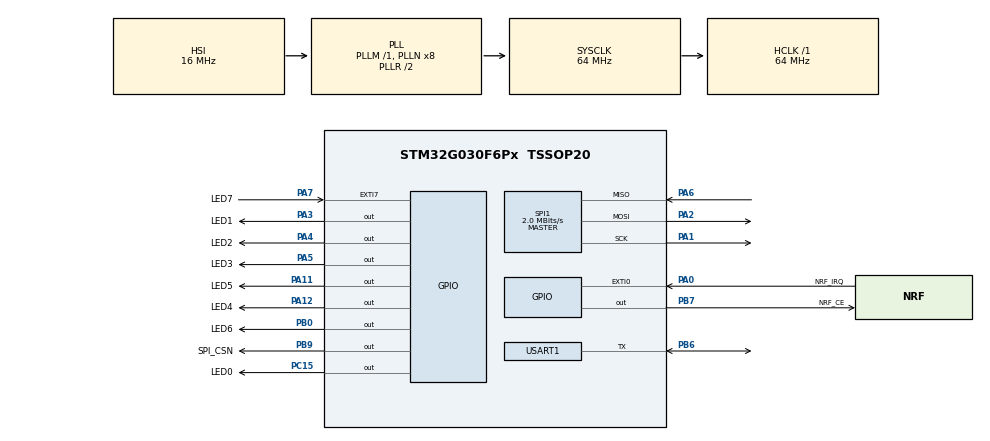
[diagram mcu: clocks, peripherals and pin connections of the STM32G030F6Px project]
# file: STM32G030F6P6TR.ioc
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ADC1.Channel-1\#ChannelRegularConversion=ADC_CHANNEL_VREFINT
ADC1.NbrOfConversion=1
ADC1.NbrOfConversionFlag=1
ADC1.Rank-1\#ChannelRegularConversion=1
ADC1.SamplingTime-1\#ChannelRegularConversion=ADC_SAMPLINGTIME_COMMON_1
ADC1.SelectedChannel=ADC_CHANNEL_VREFINT
ADC1.master=1
FREERTOS.Tasks01=defaultTask,0,128,StartDefaultTask,Default,NULL,Dynamic,NULL,NULL
Mcu.Family=STM32G0
Mcu.Name=STM32G030F6Px
Mcu.Package=TSSOP20
NVIC.EXTI0_1_IRQn=true\:3\:0\:false\:false\:true\:true\:true\:true\:true
NVIC.EXTI4_15_IRQn=true\:3\:0\:false\:false\:true\:true\:true\:true\:true
NVIC.TIM14_IRQn=true\:3\:0\:false\:false\:true\:false\:false\:true\:true
NVIC.TIM3_IRQn=true\:3\:0\:false\:false\:true\:true\:true\:true\:true
NVIC.TimeBase=TIM14_IRQn
NVIC.TimeBaseIP=TIM14
PA0.GPIO_Label=NRF_IRQ
PA0.Signal=GPXTI0
PA1.Mode=Full_Duplex_Master
PA1.Signal=SPI1_SCK
PA11\ [PA9].GPIO_Label=LED5
PA11\ [PA9].Signal=GPIO_Output
PA12\ [PA10].GPIO_Label=LED4
PA12\ [PA10].Signal=GPIO_Output
PA13.Mode=Serial_Wire
PA13.Signal=SYS_SWDIO
PA14-BOOT0.Mode=Serial_Wire
PA14-BOOT0.Signal=SYS_SWCLK
PA14-BOOT0__PA15.StandardMode=true
PA2.Mode=Full_Duplex_Master
PA2.Signal=SPI1_MOSI
PA3.GPIO_Label=LED1
PA3.Signal=GPIO_Output
PA4.GPIO_Label=LED2
PA4.Signal=GPIO_Output
PA5.GPIO_Label=LED3
PA5.Signal=GPIO_Output
PA6.Mode=Full_Duplex_Master
PA6.Signal=SPI1_MISO
PA7.GPIO_Label=LED7
PA7.Signal=GPXTI7
PB0.GPIO_Label=LED6
PB0.Signal=GPIO_Output
PB0__PB1__PB2__PA8.StandardMode=true
PB3__PB4__PB5__PB6.StandardMode=true
PB6.Mode=Half_duplex(single_wire_mode)
PB6.Signal=USART1_TX
PB7.GPIO_Label=NRF_CE
PB7.Signal=GPIO_Output
PB7__PB8.StandardMode=true
PB9.GPIO_Label=SPI_CSN
PB9.Signal=GPIO_Output
PC14-OSC32_IN\ (PC14)__PB9.StandardMode=true
PC15-OSC32_OUT\ (PC15).GPIO_Label=LED0
PC15-OSC32_OUT\ (PC15).Signal=GPIO_Output
ProjectManager.HeapSize=0x200
ProjectManager.StackSize=0x400
ProjectManager.TargetToolchain=MDK-ARM V5.32
RCC.ADCFreq_Value=64000000
RCC.AHBFreq_Value=64000000
RCC.CortexFreq_Value=64000000
RCC.EXTERNAL_CLOCK_VALUE=12288000
RCC.HCLKFreq_Value=64000000
RCC.HSE_VALUE=8000000
RCC.HSI_VALUE=16000000
RCC.LSE_VALUE=32768
RCC.SYSCLKFreq_VALUE=64000000
RCC.SYSCLKSource=RCC_SYSCLKSOURCE_PLLCLK
RCC.VCOOutputFreq_Value=128000000
SPI1.BaudRatePrescaler=SPI_BAUDRATEPRESCALER_32
SPI1.CalculateBaudRate=2.0 MBits/s
SPI1.Direction=SPI_DIRECTION_2LINES
SPI1.Mode=SPI_MODE_MASTER
SPI1.VirtualType=VM_MASTER
TIM3.Period=500
TIM3.Prescaler=64000
USART1.VirtualMode-Half_duplex(single_wire_mode)=VM_ASYNC
VP_ADC1_Vref_Input.Mode=IN-Vrefint
VP_FREERTOS_VS_CMSIS_V1.Mode=CMSIS_V1
VP_SYS_VS_tim14.Mode=TIM14
VP_TIM1_VS_ClockSourceINT.Mode=Internal
VP_TIM3_VS_ClockSourceINT.Mode=Internal
board=custom

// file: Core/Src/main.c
/* USER CODE BEGIN Header */
/**
  ******************************************************************************
  * @file           : main.c
  * @brief          : Main program body
  ******************************************************************************
  * @attention
  *
  * Copyright (c) 2023 STMicroelectronics.
  * All rights reserved.
  *
  * This software is licensed under terms that can be found in the LICENSE file
  * in the root directory of this software component.
  * If no LICENSE file comes with this software, it is provided AS-IS.
  *
  ******************************************************************************
  */
/* USER CODE END Header */
#include "main.h"
#include "cmsis_os.h"
#include "adc.h"
#include "spi.h"
#include "tim.h"
#include "usart.h"
#include "gpio.h"

/* USER CODE BEGIN Includes */
#include "../common.h"
/* USER CODE END Includes */

void SystemClock_Config(void);
void MX_FREERTOS_Init(void);

int main(void)
{

  /* MCU Configuration--------------------------------------------------------*/

  /* Reset of all peripherals, Initializes the Flash interface and the Systick. */
  HAL_Init();

  /* Configure the system clock */
  SystemClock_Config();

  /* Initialize all configured peripherals */
  MX_GPIO_Init();
  MX_ADC1_Init();
  MX_SPI1_Init();
  MX_TIM1_Init();
  MX_USART1_UART_Init();
  MX_TIM3_Init();

  /* Call init function for freertos objects (in freertos.c) */
  MX_FREERTOS_Init();

  /* Start scheduler */
  osKernelStart();

  /* We should never get here as control is now taken by the scheduler */
  /* Infinite loop */
  while (1)
  {

  }
}

void SystemClock_Config(void)
{
  RCC_OscInitTypeDef RCC_OscInitStruct = {0};
  RCC_ClkInitTypeDef RCC_ClkInitStruct = {0};

  /** Configure the main internal regulator output voltage
  */
  HAL_PWREx_ControlVoltageScaling(PWR_REGULATOR_VOLTAGE_SCALE1);

  /** Initializes the RCC Oscillators according to the specified parameters
  * in the RCC_OscInitTypeDef structure.
  */
  RCC_OscInitStruct.OscillatorType = RCC_OSCILLATORTYPE_HSI;
  RCC_OscInitStruct.HSIState = RCC_HSI_ON;
  RCC_OscInitStruct.HSIDiv = RCC_HSI_DIV1;
  RCC_OscInitStruct.HSICalibrationValue = RCC_HSICALIBRATION_DEFAULT;
  RCC_OscInitStruct.PLL.PLLState = RCC_PLL_ON;
  RCC_OscInitStruct.PLL.PLLSource = RCC_PLLSOURCE_HSI;
  RCC_OscInitStruct.PLL.PLLM = RCC_PLLM_DIV1;
  RCC_OscInitStruct.PLL.PLLN = 8;
  RCC_OscInitStruct.PLL.PLLP = RCC_PLLP_DIV2;
  RCC_OscInitStruct.PLL.PLLR = RCC_PLLR_DIV2;
  if (HAL_RCC_OscConfig(&RCC_OscInitStruct) != HAL_OK)
  {
    Error_Handler();
  }

  /** Initializes the CPU, AHB and APB buses clocks
  */
  RCC_ClkInitStruct.ClockType = RCC_CLOCKTYPE_HCLK|RCC_CLOCKTYPE_SYSCLK
                              |RCC_CLOCKTYPE_PCLK1;
  RCC_ClkInitStruct.SYSCLKSource = RCC_SYSCLKSOURCE_PLLCLK;
  RCC_ClkInitStruct.AHBCLKDivider = RCC_SYSCLK_DIV1;
  RCC_ClkInitStruct.APB1CLKDivider = RCC_HCLK_DIV1;

  if (HAL_RCC_ClockConfig(&RCC_ClkInitStruct, FLASH_LATENCY_2) != HAL_OK)
  {
    Error_Handler();
  }
}

void HAL_TIM_PeriodElapsedCallback(TIM_HandleTypeDef *htim)
{
	static uint8_t keyTime = 0;
  /* USER CODE BEGIN Callback 0 */
	BaseType_t phpt;
  /* USER CODE END Callback 0 */
  if (htim->Instance == TIM14) {
    HAL_IncTick();
  }
  /* USER CODE BEGIN Callback 1 */
	if (htim->Instance == TIM1) {
  }
	if (htim->Instance == TIM3) {
		//按键定时
		if ( str.preKey == 1 ) {
			LED0_ON();
			keyTime++;
			if ( keyTime > 4 ) {//2s
				keyTime = 0;
				str.preKey = 0;
				if ( str.regSta != 1 ) LED0_OFF();
				HAL_NVIC_EnableIRQ(CFG_KEY_EXTI_IRQn);
			}
		} else if ( str.regSta == 1 ) {
			LED0_TOGGLE();

		} else if ( str.regSta == 2 ) {//通信定时,10s发一次心跳
			nrf_str.heartTime++;
			if ( nrf_str.heartTime > 20 ) {
				nrf_str.heartTime = 0;
				str.regSta = 3;
				xTaskNotifyFromISR( nrf_control_taskHandle, 1U<<NRF_REGISTER_DEVICE, eSetBits, &phpt );//发送心跳
			}
		}
	}
  /* USER CODE END Callback 1 */
}

void Error_Handler(void)
{
  __disable_irq();
  while (1)
  {
  }
}

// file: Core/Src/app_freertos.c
/* USER CODE BEGIN Header */
/**
  ******************************************************************************
  * File Name          : app_freertos.c
  * Description        : Code for freertos applications
  ******************************************************************************
  * @attention
  *
  * Copyright (c) 2023 STMicroelectronics.
  * All rights reserved.
  *
  * This software is licensed under terms that can be found in the LICENSE file
  * in the root directory of this software component.
  * If no LICENSE file comes with this software, it is provided AS-IS.
  *
  ******************************************************************************
  */
/* USER CODE END Header */

#include "FreeRTOS.h"
#include "task.h"
#include "main.h"
#include "cmsis_os.h"

/* USER CODE BEGIN Includes */
#include "../common.h"
/* USER CODE END Includes */

/* USER CODE BEGIN PTD */
STR str;
/* USER CODE END PTD */

/* USER CODE BEGIN Variables */
TaskHandle_t nrf_control_taskHandle;
TaskHandle_t executive_taskHandle;
/* USER CODE END Variables */
osThreadId defaultTaskHandle;

/* USER CODE BEGIN FunctionPrototypes */
#ifdef DEBUG_ENABLE
void debugTaskFun(void const * argument);
#endif
void executive_task_fun(void const * argument);
void nrf_control_task_fun(void const * argument);
/* USER CODE END FunctionPrototypes */

void StartDefaultTask(void const * argument);

void MX_FREERTOS_Init(void); /* (MISRA C 2004 rule 8.1) */

void MX_FREERTOS_Init(void) {

  /* Create the thread(s) */
  /* definition and creation of defaultTask */
  osThreadDef(defaultTask, StartDefaultTask, osPriorityNormal, 0, 128);
  defaultTaskHandle = osThreadCreate(osThread(defaultTask), NULL);

  /* USER CODE BEGIN RTOS_THREADS */
  /* add threads, ... */
#ifdef DEBUG_ENABLE
	osThreadDef(debugTask, debugTaskFun, osPriorityNormal, 0, debugTaskSize);
  debugTaskHandle = osThreadCreate(osThread(debugTask), NULL);
#endif

	osThreadDef(nrf_control_task, nrf_control_task_fun, osPriorityNormal, 0, nrf_control_taskSize);
  nrf_control_taskHandle = osThreadCreate(osThread(nrf_control_task), NULL);

	osThreadDef(executive_task, executive_task_fun, osPriorityNormal, 0, executive_taskSize);
  executive_taskHandle = osThreadCreate(osThread(executive_task), NULL);
  /* USER CODE END RTOS_THREADS */

}

void StartDefaultTask(void const * argument)
{
  /* USER CODE BEGIN StartDefaultTask */
  /* Infinite loop */
  for(;;)
  {
//		//getSnByDeviceId_setClientId();
//		//read_data_from_flash();
//		//#ifdef DEBUG_ENABLE
//		//	debug_init();
//		//#endif
//		//HAL_TIM_Base_Start_IT( &htim3 );
//		//HAL_TIM_Base_Start( &htim3 );
//
//		xTaskNotify( nrf_control_taskHandle, 1U<<NRF_INIT_EVENT, eSetBits );
//		xTaskNotify( executive_taskHandle, 1U<<LED_MODE_OFF, eSetBits );
//		LED0_ON();
//		printf("init ok\r\n");
//		vTaskDelay(100);
//		xTaskNotify( nrf_control_taskHandle, 1U<<NRF_REGISTER_DEVICE, eSetBits );

		LED_ALL_OFF();
		nrf_init();
		vTaskDelay(100);
		printf("init ok\r\n");

		vTaskDelete( defaultTaskHandle );
  }
  /* USER CODE END StartDefaultTask */
}

/* USER CODE BEGIN Application */

/*--------------- LED ----------------*/
void executive_task_fun(void const * argument) {
	uint32_t newBits, oldBits;
  for(;;) {
		xTaskNotifyWait( pdFALSE, portMAX_DELAY, &newBits, portMAX_DELAY );
		oldBits |= newBits;
		if ( oldBits & (1U<<LED_MODE_0) ) {
			oldBits &=~ (1U<<LED_MODE_0);
			led_mode_0_fun();
		}
		if ( oldBits & (1U<<LED_MODE_OFF) ) {
			oldBits &=~ (1U<<LED_MODE_OFF);
			led_mode_off_fun();
		}
  }
}
/*--------------- LED ----------------*/

/*--------------- NRF24 ----------------*/
void nrf_control_task_fun(void const * argument) {
	uint32_t newBits, oldBits;

  for(;;) {
		xTaskNotifyWait( pdFALSE, portMAX_DELAY, &newBits, portMAX_DELAY );
		oldBits |= newBits;
		if ( oldBits & (1U<<NRF_INIT_EVENT) ) {
			oldBits &=~ (1U<<NRF_INIT_EVENT);
			nrf_init();
		}
		if ( oldBits & (1U<<NRF_SEND_DATA) ) {
			oldBits &=~ (1U<<NRF_SEND_DATA);
			nrf_send_data();
		}
		if ( oldBits & (1U<<NRF_PARSE_DATA) ) {
			oldBits &=~ (1U<<NRF_PARSE_DATA);
			//nrf_parse_data();
			nrf_receive_test();
		}
		if ( oldBits & (1U<<NRF_REGISTER_DEVICE) ) {
			oldBits &=~ (1U<<NRF_REGISTER_DEVICE);
			nrf_register_device();
		}
  }
}
/*--------------- NRF24 ----------------*/

/* USER CODE END Application */
